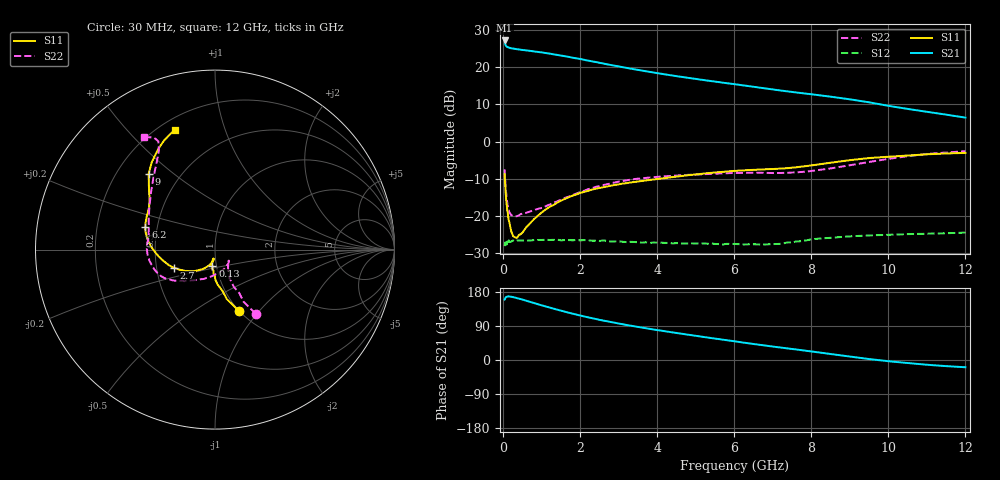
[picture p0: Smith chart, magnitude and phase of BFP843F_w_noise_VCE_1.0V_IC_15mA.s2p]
! Infineon Technologies  Discrete & RF Semiconductors
! BFP843F
! VCE =  1.0 V,  IC =  15 mA
! Common Emitter S-Parameters:  Aug 2013
# GHz  S  MA  R  50
!  f  S11  S21  S12  S22
! GHz  MAG  ANG  MAG  ANG  MAG  ANG  MAG  ANG
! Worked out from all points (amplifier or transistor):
!   103 points, 30 MHz to 12 GHz, reference 50 ohm
!   highest |S21| = 27.2 dB at 30 MHz (marker M1)
!   |S21| within 3 dB of that: start of sweep to 832.9 MHz
!   unconditionally stable (mu >= 1): 129.4 MHz to 130.1 MHz; 148.6 MHz to end of sweep
!   at 400 MHz: K = 1.01, MAG = 25.0 dB, |S12| = -26.7 dB
!   at 3.7 GHz: K = 1.17, MAG = 20.5 dB, |S12| = -27.1 dB
!   at 12 GHz: K = 1.29, MAG = 12.2 dB, |S12| = -24.5 dB
!   lowest NFmin = 0.84 dB at 450 MHz
!   S11 on the Smith chart (normalised r, x): 30 MHz: 1.00, -0.78; 130 MHz: 0.96, -0.18; 2.7 GHz: 0.62, -0.13; 6.2 GHz: 0.43, +0.13; 9 GHz: 0.33, +0.41; 12 GHz: 0.26, +0.69
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0.03  0.3641 -68.9  22.89 159.6  0.0391 23.1  0.4227 -57.6
0.04  0.2835 -76.6  21.21 161.1  0.042 19.2  0.3307 -61.3
0.05  0.237 -79.4  20.16 164.1  0.0441 21.3  0.2776 -60.8
0.06  0.1948 -85.8  19.68 165.3  0.0406 16.3  0.2321 -63.3
0.08  0.1476 -90.4  19.05 166.7  0.0433 10.0  0.179 -63.4
0.13  0.0926 -98.9  18.44 167.9  0.0437 8.0  0.1192 -52.8
0.3  0.0513 -98.4  17.64 164.7  0.0452 4.9  0.0982 -39.4
0.9  0.1009 -113.2  16.04 147.1  0.0474 1.6  0.1242 -72.6
1.2  0.1325 -123.8  15.23 138.4  0.0473 1.1  0.142 -92.0
1.6  0.1695 -134.8  14.04 127.3  0.0473 0.4  0.1748 -110.7
2.1  0.2102 -146.4  12.55 114.8  0.0472 -1.0  0.2181 -127.8
2.7  0.2487 -156.0  10.91 102.0  0.0459 -0.6  0.2668 -139.5
3.4  0.2854 -165.5  9.382 88.9  0.0445 -0.1  0.3125 -148.1
4.1  0.3183 -173.6  8.155 77.4  0.0436 0.8  0.3376 -155.1
5  0.3612 176.1  6.952 63.8  0.0425 3.0  0.3591 -164.4
6.1  0.4055 163.4  5.816 47.9  0.0416 6.8  0.3775 -177.2
6.2  0.4077 161.9  5.716 46.4  0.0412 7.7  0.3784 -178.5
7.1  0.4297 150.1  4.934 34.1  0.0418 13.9  0.3775 170.5
8.5  0.5187 135.3  4.011 15.8  0.0507 17.6  0.4348 147.3
9  0.5613 131.2  3.695 9.1  0.053 16.6  0.4794 138.0
10.5  0.6477 118.8  2.746 -8.0  0.0568 15.1  0.6345 119.5
12  0.7025 108.5  2.096 -19.1  0.0595 16.7  0.7412 122.2
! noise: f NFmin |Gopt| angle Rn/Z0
0.45  0.84  0.02  165  0.04
0.9  0.84  0.02  143  0.05
1.5  0.88  0.03  139  0.05
1.9  0.92  0.05  146  0.05
2.4  0.96  0.06  153  0.08
3.5  1.02  0.09  167  0.13
5.5  1.12  0.17  -157  0.21
10  1.65  0.37  -108  0.31
